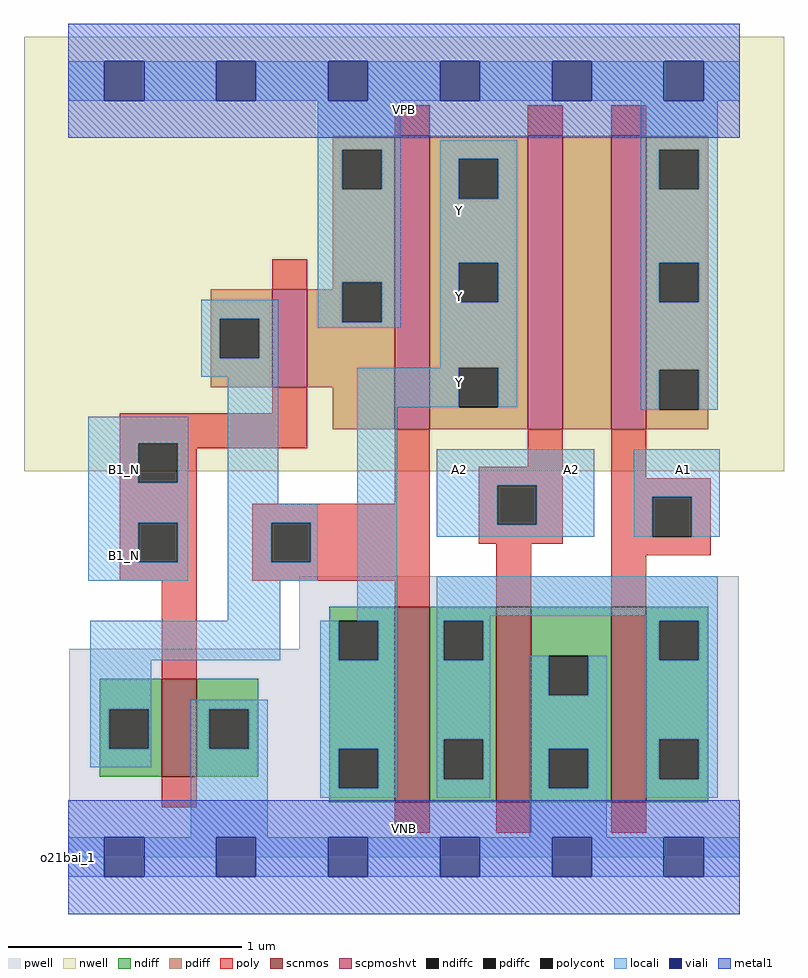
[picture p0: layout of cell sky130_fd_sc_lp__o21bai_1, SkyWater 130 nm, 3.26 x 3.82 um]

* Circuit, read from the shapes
.subckt sky130_fd_sc_lp__o21bai_1 A1 A2 B1_N VGND VNB VPB VPWR Y
XM1 VGND B1_N n1 VNB sky130_fd_pr__nfet_01v8 w=0.42 l=0.15
XM2 n2 n1 Y VNB sky130_fd_pr__nfet_01v8 w=0.84 l=0.15
XM3 VGND A2 n2 VNB sky130_fd_pr__nfet_01v8 w=0.84 l=0.15
XM4 n2 A1 VGND VNB sky130_fd_pr__nfet_01v8 w=0.84 l=0.15
XM5 VPWR B1_N n1 VPB sky130_fd_pr__pfet_01v8_hvt w=0.42 l=0.15
XM6 Y n1 VPWR VPB sky130_fd_pr__pfet_01v8_hvt w=1.26 l=0.15
XM7 n3 A2 Y VPB sky130_fd_pr__pfet_01v8_hvt w=1.26 l=0.15
XM8 VPWR A1 n3 VPB sky130_fd_pr__pfet_01v8_hvt w=1.26 l=0.15
.ends

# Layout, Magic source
magic
tech sky130A
magscale 1 2
<< nwell >>
rect -38 331 614 704
<< pwell >>
rect 198 179 575 241
rect 1 49 575 179
rect 0 0 576 49
<< scnmos >>
rect 80 69 110 153
rect 280 47 310 215
rect 367 47 397 215
rect 466 47 496 215
<< scpmoshvt >>
rect 175 403 205 487
rect 280 367 310 619
rect 394 367 424 619
rect 466 367 496 619
<< ndiff >>
rect 224 203 280 215
rect 224 169 232 203
rect 266 169 280 203
rect 27 127 80 153
rect 27 93 35 127
rect 69 93 80 127
rect 27 69 80 93
rect 110 127 163 153
rect 110 93 121 127
rect 155 93 163 127
rect 110 69 163 93
rect 224 93 280 169
rect 224 59 232 93
rect 266 59 280 93
rect 224 47 280 59
rect 310 203 367 215
rect 310 169 322 203
rect 356 169 367 203
rect 310 101 367 169
rect 310 67 322 101
rect 356 67 367 101
rect 310 47 367 67
rect 397 173 466 215
rect 397 139 412 173
rect 446 139 466 173
rect 397 93 466 139
rect 397 59 412 93
rect 446 59 466 93
rect 397 47 466 59
rect 496 203 549 215
rect 496 169 507 203
rect 541 169 549 203
rect 496 101 549 169
rect 496 67 507 101
rect 541 67 549 101
rect 496 47 549 67
<< pdiff >>
rect 227 607 280 619
rect 227 573 235 607
rect 269 573 280 607
rect 227 493 280 573
rect 227 487 235 493
rect 122 462 175 487
rect 122 428 130 462
rect 164 428 175 462
rect 122 403 175 428
rect 205 459 235 487
rect 269 459 280 493
rect 205 403 280 459
rect 227 367 280 403
rect 310 599 394 619
rect 310 565 335 599
rect 369 565 394 599
rect 310 510 394 565
rect 310 476 335 510
rect 369 476 394 510
rect 310 420 394 476
rect 310 386 335 420
rect 369 386 394 420
rect 310 367 394 386
rect 424 367 466 619
rect 496 607 549 619
rect 496 573 507 607
rect 541 573 549 607
rect 496 510 549 573
rect 496 476 507 510
rect 541 476 549 510
rect 496 418 549 476
rect 496 384 507 418
rect 541 384 549 418
rect 496 367 549 384
<< ndiffc >>
rect 232 169 266 203
rect 35 93 69 127
rect 121 93 155 127
rect 232 59 266 93
rect 322 169 356 203
rect 322 67 356 101
rect 412 139 446 173
rect 412 59 446 93
rect 507 169 541 203
rect 507 67 541 101
<< pdiffc >>
rect 235 573 269 607
rect 130 428 164 462
rect 235 459 269 493
rect 335 565 369 599
rect 335 476 369 510
rect 335 386 369 420
rect 507 573 541 607
rect 507 476 541 510
rect 507 384 541 418
<< poly >>
rect 280 619 310 645
rect 394 619 424 645
rect 466 619 496 645
rect 175 487 205 513
rect 175 381 205 403
rect 44 355 205 381
rect 44 321 60 355
rect 94 351 205 355
rect 94 321 110 351
rect 44 287 110 321
rect 280 303 310 367
rect 394 335 424 367
rect 44 253 60 287
rect 94 253 110 287
rect 44 237 110 253
rect 158 287 310 303
rect 158 253 174 287
rect 208 253 310 287
rect 352 319 424 335
rect 352 285 368 319
rect 402 285 424 319
rect 352 269 424 285
rect 466 325 496 367
rect 466 309 551 325
rect 466 275 501 309
rect 535 275 551 309
rect 158 237 310 253
rect 80 153 110 237
rect 280 215 310 237
rect 367 215 397 269
rect 466 259 551 275
rect 466 215 496 259
rect 80 43 110 69
rect 280 21 310 47
rect 367 21 397 47
rect 466 21 496 47
<< polycont >>
rect 60 321 94 355
rect 60 253 94 287
rect 174 253 208 287
rect 368 285 402 319
rect 501 275 535 309
<< locali >>
rect 0 649 31 683
rect 65 649 127 683
rect 161 649 223 683
rect 257 649 319 683
rect 353 649 415 683
rect 449 649 511 683
rect 545 649 576 683
rect 214 607 285 649
rect 214 573 235 607
rect 269 573 285 607
rect 214 493 285 573
rect 114 462 180 478
rect 114 428 130 462
rect 164 428 180 462
rect 214 459 235 493
rect 269 459 285 493
rect 214 454 285 459
rect 319 599 385 615
rect 319 565 335 599
rect 369 565 385 599
rect 319 510 385 565
rect 319 476 335 510
rect 369 476 385 510
rect 114 412 180 428
rect 319 420 385 476
rect 17 355 103 378
rect 17 321 60 355
rect 94 321 103 355
rect 17 287 103 321
rect 17 253 60 287
rect 94 253 103 287
rect 17 237 103 253
rect 137 303 180 412
rect 248 386 335 420
rect 369 386 385 420
rect 491 607 557 649
rect 491 573 507 607
rect 541 573 557 607
rect 491 510 557 573
rect 491 476 507 510
rect 541 476 557 510
rect 491 418 557 476
rect 137 287 214 303
rect 137 253 174 287
rect 208 253 214 287
rect 137 237 214 253
rect 137 203 182 237
rect 248 203 282 386
rect 491 384 507 418
rect 541 384 557 418
rect 316 319 451 350
rect 316 285 368 319
rect 402 285 451 319
rect 316 275 451 285
rect 485 309 559 350
rect 485 275 501 309
rect 535 275 559 309
rect 19 169 182 203
rect 216 169 232 203
rect 266 169 282 203
rect 19 127 71 169
rect 19 93 35 127
rect 69 93 71 127
rect 19 77 71 93
rect 105 127 171 135
rect 105 93 121 127
rect 155 93 171 127
rect 105 17 171 93
rect 216 93 282 169
rect 216 59 232 93
rect 266 59 282 93
rect 216 51 282 59
rect 316 207 557 241
rect 316 203 362 207
rect 316 169 322 203
rect 356 169 362 203
rect 496 203 557 207
rect 316 101 362 169
rect 316 67 322 101
rect 356 67 362 101
rect 316 51 362 67
rect 396 139 412 173
rect 446 139 462 173
rect 396 93 462 139
rect 396 59 412 93
rect 446 59 462 93
rect 396 17 462 59
rect 496 169 507 203
rect 541 169 557 203
rect 496 101 557 169
rect 496 67 507 101
rect 541 67 557 101
rect 496 51 557 67
rect 0 -17 31 17
rect 65 -17 127 17
rect 161 -17 223 17
rect 257 -17 319 17
rect 353 -17 415 17
rect 449 -17 511 17
rect 545 -17 576 17
<< viali >>
rect 31 649 65 683
rect 127 649 161 683
rect 223 649 257 683
rect 319 649 353 683
rect 415 649 449 683
rect 511 649 545 683
rect 31 -17 65 17
rect 127 -17 161 17
rect 223 -17 257 17
rect 319 -17 353 17
rect 415 -17 449 17
rect 511 -17 545 17
<< metal1 >>
rect 0 683 576 715
rect 0 649 31 683
rect 65 649 127 683
rect 161 649 223 683
rect 257 649 319 683
rect 353 649 415 683
rect 449 649 511 683
rect 545 649 576 683
rect 0 617 576 649
rect 0 17 576 49
rect 0 -17 31 17
rect 65 -17 127 17
rect 161 -17 223 17
rect 257 -17 319 17
rect 353 -17 415 17
rect 449 -17 511 17
rect 545 -17 576 17
rect 0 -49 576 -17
<< labels >>
flabel pwell s 0 0 576 49 0 FreeSans 200 0 0 0 VNB
port 5 nsew ground bidirectional
flabel nwell s 0 617 576 666 0 FreeSans 200 0 0 0 VPB
port 6 nsew power bidirectional
rlabel comment s 0 0 0 0 4 o21bai_1
flabel metal1 s 0 0 576 49 0 FreeSans 340 0 0 0 VGND
port 4 nsew ground bidirectional
flabel metal1 s 0 617 576 666 0 FreeSans 340 0 0 0 VPWR
port 7 nsew power bidirectional
flabel locali s 511 316 545 350 0 FreeSans 340 0 0 0 A1
port 1 nsew signal input
flabel locali s 319 316 353 350 0 FreeSans 340 0 0 0 A2
port 2 nsew signal input
flabel locali s 415 316 449 350 0 FreeSans 340 0 0 0 A2
port 2 nsew signal input
flabel locali s 319 390 353 424 0 FreeSans 340 0 0 0 Y
port 8 nsew signal output
flabel locali s 31 242 65 276 0 FreeSans 340 0 0 0 B1_N
port 3 nsew signal input
flabel locali s 31 316 65 350 0 FreeSans 340 0 0 0 B1_N
port 3 nsew signal input
flabel locali s 319 538 353 572 0 FreeSans 340 0 0 0 Y
port 8 nsew signal output
flabel locali s 319 464 353 498 0 FreeSans 340 0 0 0 Y
port 8 nsew signal output
<< properties >>
string LEFsite unit
string LEFclass CORE
string FIXED_BBOX 0 0 576 666
string GDS_FILE $PDKPATH/libs.ref/sky130_fd_sc_lp/gds/sky130_fd_sc_lp.gds
string LEFsymmetry X Y R90
string GDS_END 5208990
string GDS_START 5202940
<< end >>
